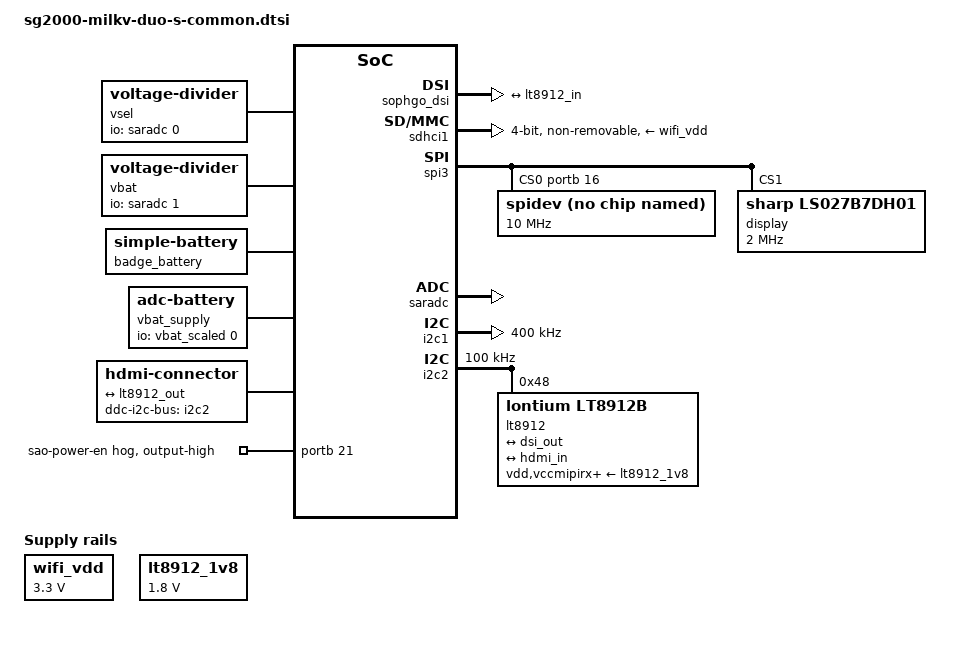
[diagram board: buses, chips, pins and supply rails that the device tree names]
// SPDX-License-Identifier: (GPL-2.0 OR MIT)
/*
 * Shared board nodes common to both the ARM and RISC-V Milk-V Duo S cores.
 *
 * These nodes are SoC-pad-level and identical between the two cores, so they
 * live here instead of being duplicated in each DTS. Each core still defines
 * its own sdhci1_cfg pinctrl (PIN_SD1_* on ARM, DUOS_SD1_* on RISC-V) and its
 * own gpio-line-names.
 *
 * This dtsi is included after the base dtsi (module-01 on ARM, sg2002 on RISC-V)
 * and <dt-bindings/gpio/gpio.h>, so CLK_SD1, CLK_AXI4_SD1, GPIO_ACTIVE_HIGH and
 * the &clk / &porta / &sdhci1 / &sdhci1_cfg labels are already in scope. Label
 * references resolve globally at dtc time, so include order does not matter for
 * the &sdhci1_cfg reference.
 */

/*
 * Onboard WiFi: AICSemi AIC8800 on the SDIO bus mmc@4320000 (label sdhci1).
 * mmc@4310000 = SD card (sdhci0), mmc@4300000 = eMMC. GPIO PORTA pin 15
 * (WL_REG_ON, active-high) powers the AIC8800, driven via the cvi host's
 * poweron-gpios. The out-of-tree aic8800 driver and firmware are separate.
 */
/ {
	/* WL_REG_ON must have one consumer. The cvitek host drives it via &sdhci1
	 * poweron-gpios. An mmc-pwrseq node on the same porta15 line would add a
	 * second consumer, which forces the kernel's can_sleep gpio-shared-proxy.
	 * aicbsp_set_subsys then calls the non-sleeping gpiod_set_value() on that
	 * proxy (gpiolib.c warns to use gpiod_set_value_cansleep) and mis-sequences
	 * the WL_REG_ON power enable. With one consumer, porta15 is a direct,
	 * non-sleeping gpiochip0 line and the power toggle is clean. */

	/* The AIC8800 core VDD reports a 3.3V OCR window in CMD5, so the mmc core
	 * must see vmmc as 3.3V or it rejects the card ("no support for card's
	 * volts", -EINVAL) before it powers. The bus I/O is taken to 1.8V in
	 * hardware by the cv18xx-vsw driver patch (SD_PWRSW_CTRL) under NO_1_8_V,
	 * matching the vendor, so there is no 1.8V vqmmc regulator. */
	wifi_vdd: regulator-wifi-vdd {
		compatible = "regulator-fixed";
		regulator-name = "aic8800-vdd";
		regulator-min-microvolt = <3300000>;
		regulator-max-microvolt = <3300000>;
		regulator-always-on;
		regulator-boot-on;
	};
};

&sdhci1 {
	/* This config routes the AIC8800 in-band SDIO interrupt (CARD_INT on DAT1)
	 * through the stock sdhci sdio_claim_irq path. With cap-sdio-irq and the
	 * driver claiming the IRQ, stock sdhci enables SDHCI_INT_CARD_INT and pins
	 * the controller runtime-resumed (pm_runtime_get_noresume in
	 * sdhci_enable_sdio_irq). The card clock then keeps toggling during the idle
	 * post-START_APP wait, so the fmac confirmation interrupt is sensed. */
	status = "okay";
	/* Marks this as the SD1/SDIO (wifi) instance for the cv18xx-vsw kernel
	 * patch. Its cv18xx_init sets FLAG_CV18XX_SD1 (reg_0x200[16] instance
	 * select and [8]/[9] reset-out in cv18xx_sdhci_reset) and FLAG_IO_FIXED_1V8
	 * (forces true 1.8V signalling). Without this the patched glue treats the
	 * node like an SD card and the SDIO-specific bring-up does not run. */
	sophgo,sdio-inst1;
	/* Binds the out-of-tree cvitek cv181x SDHCI host driver
	 * (pkgs/firmware/sdhci-cv181x) instead of mainline sdhci-of-dwcmshc, to
	 * reproduce the vendor SDIO bring-up the AIC8800 fmac needs. Replaces the
	 * inherited "sophgo,cv1800b-dwcmshc" compatible. clk_wifisd = SD1
	 * functional clock (driver sets it to max-frequency); axi = register-bus
	 * clock. */
	compatible = "cvitek,cv181x-sdio";
	/* List the functional clock (CLK_SD1, 375MHz) first, so sdhci_pltfm_init
	 * picks it (clocks[0], devm_clk_get(NULL)) as host->max_clk. With axi first
	 * the divider runs off 300MHz for a 37.5MHz card clock instead of the
	 * required 46.875MHz (375/8). The driver also looks both clocks up by name,
	 * so the order is safe. */
	clocks = <&clk CLK_SD1>, <&clk CLK_AXI4_SD1>;
	clock-names = "clk_wifisd", "axi";
	bus-width = <4>;
	non-removable;
	no-mmc;
	no-sd;
	/* The CONFIG_OOB=n driver needs the in-band SDIO interrupt. mmc_of_parse
	 * maps this to MMC_CAP_SDIO_IRQ, so sdhci wires up SDHCI_INT_CARD_INT. */
	cap-sdio-irq;
	/* Keep the SDIO function powered and stop the controller idling away the
	 * clock across the post-jump wait. */
	keep-power-in-suspend;
	/* Match the vendor 375MHz SDIO source clock (CLK_SD1 = clk_wifisd). The
	 * bootrom-to-fmac handoff and the cv18xx PHY tap timing are calibrated for
	 * a 375MHz functional clock. The vendor host reads this property
	 * (src-frequency) for the source rate, decoupled from max-frequency (the
	 * bus-clock ceiling). */
	src-frequency = <375000000>;
	/* The cv181x host's get_max_clock op returns f_max (this max-frequency) as
	 * sdhci's divider base (SDHCI_QUIRK_CAP_CLOCK_BASE_BROKEN), so the
	 * high-speed card clock is f_max/4. 187.5MHz gives 46.875MHz, which the
	 * fixed cv18xx PHY tap sample point requires. A lower rate shifts the sample
	 * point and corrupts the post-jump firmware message DMA. */
	max-frequency = <187500000>;
	/* The card core VDD OCR window is 3.3V (see wifi_vdd). The 1.8V bus I/O is
	 * done in hardware at the SoC pad rail by the cv18xx-vsw patch under
	 * NO_1_8_V, so there is no vqmmc regulator. A 1.8V vqmmc would pin ocr_avail
	 * to 1.8V and the core would reject the card's 3.3V OCR. */
	vmmc-supply = <&wifi_vdd>;
	pinctrl-0 = <&sdhci1_cfg>;
	pinctrl-names = "default";
	/* Do not auto-power the card via mmc-pwrseq, which would raise WL_REG_ON at
	 * boot and enumerate the card before the aic driver can drive it. Instead
	 * hand WL_REG_ON to the cv181x host driver as poweron-gpios. The driver
	 * drives it low at probe (card absent), then the aic CONFIG_PLATFORM_CVITEK
	 * path raises it and calls cvi_sdio_rescan() to enumerate the fmac in
	 * bootrom mode (CMD5 works). Its message task then starts and grants TX
	 * credits. */
	poweron-gpios = <&porta 15 GPIO_ACTIVE_HIGH>;
};

/*
 * pstore/ramoops: a small DRAM region the kernel dumps oops/panic logs (and the
 * console ring) into, so a crash survives a reboot and shows up in /sys/fs/pstore
 * (#50). DRAM contents are NOT cleared by a warm reset on this SoC, so the region
 * still holds the dying log when the kernel comes back up.
 *
 * Address 0x90000000 matches Armbian's validated placement (armbian/build#10326,
 * patches 0056/0057) rather than a guessed gap. Both ends of DRAM are already
 * spoken for: u-boot loads the kernel/dtb/initrd LOW (0x80200000..0x84000000) and
 * relocates the dtb/initrd HIGH, just under the top of RAM; the C906L coprocessor
 * region sits at 0x9fe00000 when that overlay is enabled. 0x90000000 is the clear
 * middle -- nothing else claims it, and it is far enough below 0x9fe00000 that the
 * C906L overlay cannot collide. (Our earlier 0x88000000 was never proven: the
 * console region was never captured because PSTORE_CONSOLE was off -- now enabled
 * in soc-features.nix -- so that address choice was untested rather than wrong.)
 *
 * no-map is deliberately ABSENT, as on most in-tree ramoops nodes: the region only
 * has to be kept out of the page allocator. Left mapped, pfn_valid() holds and
 * persistent_ram_buffer_map() takes the vmap path meant for ordinary DRAM instead
 * of falling back to ioremap. Both cores use 1/1 address/size cells, so this
 * shared node's reg is portable. PSTORE=y is in the kernel; PSTORE_RAM (=m) is
 * loaded from the initrd (base.nix); PSTORE_CONSOLE/PSTORE_PMSG are enabled in
 * soc-features.nix; panic=10 (soc-features.nix) reboots via the normal path.
 */
/ {
	reserved-memory {
		#address-cells = <1>;
		#size-cells = <1>;
		ranges;

		ramoops@90000000 {
			compatible = "ramoops";
			reg = <0x90000000 0x100000>;      /* 1 MB */
			record-size = <0x00008000>;       /* 32 KB per oops/panic dump */
			console-size = <0x00020000>;      /* 128 KB kernel-console ring */
		};
	};
};

/*
 * SPI3 (DesignWare APB SSI) on the 40-pin header drives BOTH the WS2812 LED
 * ring (/dev/spidev3.0) and the Sharp Memory Display (display@1) over ONE bus
 * with the CS-AND-gate wiring: U10 gates LED_DIN = CS AND SDO, and the front
 * connector routes the SAME CS net through an inverter to the display's SCS.
 * The controller node itself (compatible/reg/#cells/clocks/interrupts/resets)
 * comes from the base cv180x.dtsi (status="disabled"); this enables it and adds
 * the two board devices. Identical on both cores, so it lives here.
 *
 * Per-core bits stay in each DTS: `dmas` (the cv1800b dmamux request's CPU
 * cell, 0 = CA53 on ARM / 1 = C906 on RISC-V) and, on ARM only, the GIC-form
 * `interrupts` override (the base's 2-cell PLIC form is wrong under the arm64
 * GIC); plus the `spi3_cfg` pinctrl, whose pin-macro names differ (arm PIN_*
 * vs riscv DUOS_*), referenced here by label. Requires RESET_SIMPLE in the
 * kernel (shared, base.nix) so &rst binds and RST_SPI3 is deasserted -- without
 * it the optional reset never releases and the bus comes up half-reset.
 */
&spi3 {
	num-cs = <2>;
	/* GPIO chip select, active-high. U10 passes LED data only while CS is
	 * high; the native DW CS cannot do active-high (dw_spi_set_cs just sets
	 * SER regardless of level), so use a gpiod CS -- dw_spi sets
	 * SPI_CONTROLLER_GPIO_SS so SER is still raised and data flows. VIVO_D5 is
	 * XGPIOB_16 at mux 3 (see each core's spi3_cfg). */
	cs-gpios = <&portb 16 GPIO_ACTIVE_HIGH>;
	pinctrl-0 = <&spi3_cfg>;
	pinctrl-names = "default";
	status = "okay";

	/* WS2812 ring at /dev/spidev3.0. spidev binds known compatibles only;
	 * rohm,dh2228fv is in spidev_dt_ids. spi-cs-high is required for the U10
	 * AND gate: gpiolib-of forces every SPI cs-gpio active-low unless the child
	 * carries spi-cs-high (SPI children default to active-low chip selects). */
	spidev@0 {
		compatible = "rohm,dh2228fv";
		reg = <0>;
		spi-max-frequency = <10000000>;
		spi-cs-high;
	};

	/* Sharp Memory Display (LS027B7DH01, 400x240) as a DRM fbcon (#42). The
	 * SAME CS net reaches SCS through an inverter, so this child has NO cs-gpios
	 * (the controller's cs-gpios array has one entry; index 1 is NULL) and the
	 * SPI core toggles nothing here -- the line sits where the LED cs-gpio
	 * (spidev3.0) left it: LOW = display selected when the painter is idle.
	 * EXTMODE strapped low => software VCOM (kthread toggles the in-band VCOM
	 * bit, no EXTCOMIN pin); DISP tied high => no enable-gpios. */
	display@1 {
		compatible = "sharp,ls027b7dh01";
		reg = <1>;
		spi-max-frequency = <2000000>;
		sharp,vcom-mode = "software";
	};
};

/*
 * SAO connector power hog. Lives in its own &portb block; dtc merges it with
 * each core's &portb (which carries the core-specific gpio-line-names).
 */
&portb {
	/* Enable the SAO connector power (U13 EN + U12 OE) at boot. */
	sao-power-en-hog {
		gpio-hog;
		gpios = <21 GPIO_ACTIVE_HIGH>;
		output-high;
		line-name = "sao-power-en";
	};
};

/*
 * SARADC for the battery + rail voltage meters. The cv1800b-adc IIO driver
 * exposes in_voltage0/1/2 (scale 3300/4096 = ~0.8057 mV per LSB). Channel map:
 *   in_voltage0 = VSEL  (system rail, = VBUS through the TPS2116 mux; R16/R19),
 *                       2.2M/1M divider -> read via the vsel-divider rescale
 *   in_voltage1 = VBAT  (battery; R15 2.2M / R18 1M), divider -> vbat-divider
 *   in_voltage2 = J6    (user ADC test point, NO divider) -> read the base
 *                       channel directly: in_voltage2_raw * in_voltage_scale
 * VSEL/VBAT need the divider because they exceed the 3.3V input; J6 does not.
 * The base node (cv180x.dtsi) is status="disabled" with channel@0..2 declared.
 */
&saradc {
	status = "okay";
	/* Expose the ADC channels to in-kernel consumers (the iio-rescale below). */
	#io-channel-cells = <1>;
};

/*
 * VBAT as a standard Linux power_supply, to compare against nix-badge's
 * per-badge VBUS auto-cal and decide fixed-factor-vs-cal. iio-rescale
 * (voltage-divider) applies a FIXED factor to the VBAT SARADC channel;
 * generic-adc-battery (adc-battery) then publishes it at
 * /sys/class/power_supply/. The physical divider is 2.2M/1M (x3.2), but the
 * ~138k leaky SARADC input loads it to an effective ~19.24, so output/full-ohms
 * encode ~19.24 (a per-SoC approximation, NOT the real resistors). Compare
 * voltage_now here to `nix-badge power` (which auto-cals per badge off the ~5V
 * VBUS) to see how far a single fixed factor drifts across badges/temperature.
 * Both cores get this via the shared dtsi. Drivers autoload (CONFIG_IIO_RESCALE,
 * CONFIG_GENERIC_ADC_BATTERY are =m).
 */
/ {
	/* VSEL and VBAT exceed the ADC's 3.3V input range, so each goes through a
	 * 2.2M/1M divider; an iio-rescale presents the true rail voltage in sysfs
	 * (raw*scale = real mV, effective ~19.24 after the leaky ADC input) so
	 * userspace needs no hardcoded factor. `label` surfaces at
	 * /sys/bus/iio/devices/iio:deviceN/label. VBAT additionally feeds an
	 * adc-battery below for the power_supply %/status interface; VSEL is the
	 * system rail (VBUS through the TPS2116 mux). J6 is a direct user ADC input
	 * with NO divider -- read it straight from SARADC channel 2 (in_voltage2_raw
	 * * in_voltage_scale), no rescale. */
	vsel_scaled: vsel-divider {
		compatible = "voltage-divider";
		io-channels = <&saradc 0>; /* VSEL = SARADC channel 0 */
		#io-channel-cells = <1>;
		output-ohms = <1000>;
		full-ohms = <19240>;
		label = "vsel";
	};

	vbat_scaled: vbat-divider {
		compatible = "voltage-divider";
		io-channels = <&saradc 1>; /* VBAT = SARADC channel 1 */
		#io-channel-cells = <1>;
		output-ohms = <1000>;
		full-ohms = <19240>; /* 19240/1000 = 19.24 effective factor */
		label = "vbat";
	};

	badge_battery: badge-battery {
		compatible = "simple-battery";
		voltage-min-design-microvolt = <3000000>;
		voltage-max-design-microvolt = <4200000>;
	};

	vbat_supply: vbat-adc-battery {
		compatible = "adc-battery";
		io-channels = <&vbat_scaled 0>;
		io-channel-names = "voltage";
		monitored-battery = <&badge_battery>;
	};
};

/*
 * SAO connector I2C = IIC1 (i2c@4010000) for the 128x32 SSD1306 OLED at 0x3c.
 * The bling engine drives the panel from userspace over /dev/i2c-1 (i2c-dev),
 * so we enable the controller but bind no in-kernel client (no ssd1306fb, which
 * would claim 0x3c). The SAO SDA/SCL pads are PORTB 17/18 = PIN_VIVO_D4 /
 * PIN_VIVO_D3; their IIC1 pinmux (i2c1_cfg) is added per-core once the mux value
 * is confirmed (the arm vs riscv pin-macro names differ, like sdhci1_cfg). Until
 * then the mux is set at runtime via `nix-badge mmio` while sweeping for 0x3c.
 */
/* Pin i2c@4010000 to /dev/i2c-1 deterministically (without an alias it takes the
 * first free dynamic bus number -- i2c-0 here, since it is the only enabled i2c).
 * The bling engine / `nix-badge oled` open /dev/i2c-1. */
/ {
	aliases {
		i2c1 = &i2c1;
		i2c2 = &i2c2; /* the LT8912B control bus: 2-0048 on both cores */
	};
};

&i2c1 {
	status = "okay";
	/* 400 kHz standard fast-mode. We tried 1 MHz fast-mode-plus for 60 fps Bad Apple
	 * headroom, but (a) it gave no fps gain -- the delta player is fix-eval-bound at
	 * ~46 fps, NOT I2C-bandwidth-bound, so a faster bus doesn't lift the ceiling --
	 * and (b) it was marginal for the SAO wiring: single-byte i2cdetect still ACKs at
	 * 1 MHz but the multi-byte SSD1306 init sequence intermittently NAKs, so some
	 * boots came up with a blank panel (the #30 no-OLED guard skipped it). 400 kHz
	 * inits reliably every boot; the path to true 60 fps is cutting per-frame eval
	 * cost, not the bus. */
	clock-frequency = <400000>;
	/* i2c1_cfg (VIVO_D4/D3 -> IIC1, mux 5) is defined per-core: the arm and
	 * riscv pin-macro names differ (PIN_VIVO_* vs DUOS_VIVO_*), like sdhci1_cfg.
	 * The label resolves globally at dtc time. */
	pinctrl-names = "default";
	pinctrl-0 = <&i2c1_cfg>;
};

/*
 * RTC/PWR-domain GPIO controller (RTCSYS_GPIO, SG2000 TRM: 0x05021000-0x05021FFF).
 * Mainline names only porta..portd (gpiochip0..3 at 0x0302_0000..3000) and leaves
 * this always-on RTC-domain bank unexposed, so its lines -- PWR_GPIO0..2,
 * PWR_WAKEUP0/1, PWR_BUTTON1, PWR_SEQ*, PWR_VBAT_DET -- are unreachable from
 * Linux. It IS a standard DesignWare APB GPIO (confirmed by the register layout:
 * DR@0x00=0, DDR@0x04=0 all-inputs, EXT_PORTA@0x50 reads live inputs), and the
 * block is live out of reset (RTC domain), so a plain dw-apb-gpio node binds and
 * gives a 5th gpiochip. This is what makes the badge's USER button reachable: it
 * is wired (via the reused LCD_RST net) to PWR_GPIO1/2 (M12/N13), which is NOT on
 * porta..portd. No clocks/resets: the debounce clock is optional and the RTC
 * block is never reset. The pad mux still selects PWR_GPIO by default; a pinctrl
 * state to force GPIO-input + input-enable is added per-core if a line needs it.
 */
/* The base dtsi's `soc` node is unlabeled, so merge by path (dtc unions same-path
 * nodes) to add the RTC gpio under the existing simple-bus (which has ranges;). */
/ {
	soc {
		rtcsys_gpio: gpio@5021000 {
			compatible = "snps,dw-apb-gpio";
			reg = <0x05021000 0x1000>;
			#address-cells = <1>;
			#size-cells = <0>;

			porte: gpio-controller@0 {
				compatible = "snps,dw-apb-gpio-port";
				gpio-controller;
				#gpio-cells = <2>;
				ngpios = <32>;
				reg = <0>;
				/* Line 2 is the S3 USER button (PWR_GPIO domain), found by
				 * probing which RTC line flips on a press: active-low, rests
				 * high, pressed pulls low. This controller has no edge IRQ, so
				 * nix-badge LEVEL-POLLS it (see sysfs.Button.openPolled).
				 * Naming through line 2 is enough; the rest stay unnamed. */
				gpio-line-names = "", "", "user-btn";
			};
		};
	};
};

/*
 * HDMI output: the SG2000 display block drives the board's LT8912B (U16)
 * DSI-to-HDMI bridge over two MIPI DSI data lanes. Resource provenance, vendor
 * osdrv aa542c41: interdrv/vo/chip/cv181x/vo_mipi_tx.c:_init_resources
 * (clk_disp, clk_dsi), interdrv/vpss/chip/cv181x/vpss_core.c:_init_resources
 * (sc_top, D-PHY) and interdrv/base/base.c:base_probe (vip_sys). scaler_reg.h
 * places sc_top, DISP and the DSI MAC in disjoint windows. The clock IDs are
 * the mainline cv1800 binding names for those vendor clocks.
 */
/ {
	soc {
		vip_sys: syscon@a0c8000 {
			compatible = "sophgo,sg2000-vip-sys", "syscon";
			reg = <0x0a0c8000 0x1000>;
			/* clk-cv1800.c:clk_cfg_reg_vip gates the register interface
			 * separately from the AXI VIP children. syscon attaches the clock
			 * to its regmap, which enables it around every access; the first
			 * VIP read stalls without it. */
			clocks = <&clk CLK_CFG_REG_VIP>;
		};

		sophgo_dsi: dsi@a080000 {
			compatible = "sophgo,sg2000-dsi";
			reg = <0x0a080000 0x1000>,
			      <0x0a088000 0x1000>,
			      <0x0a08a000 0x1000>,
			      <0x0a0d1000 0x1000>;
			reg-names = "sc_top", "disp", "dsi_mac", "dphy";
			assigned-clocks = <&clk CLK_DSI_ESC>;
			assigned-clock-parents = <&clk CLK_AXI6>;
			assigned-clock-rates = <20000000>;
			sophgo,vip-sys = <&vip_sys>;
			/* axi_vip is the VIP AXI master clock the DISP DRAM reader needs.
			 * The vendor display node never takes it (vendor display DMA
			 * relies on the vi node's clk_axi), and nothing else holds it on
			 * mainline, so clk_disable_unused would gate it. bt_vip is an AXI
			 * gate beside the display gates that the vendor kernel leaves
			 * running (its mipi_tx node lists it as clk_bt). */
			clocks = <&clk CLK_SC_TOP_VIP>,
				 <&clk CLK_DISP_VIP>, <&clk CLK_DSI_MAC_VIP>,
				 <&clk CLK_DSI_ESC>, <&clk CLK_DISPPLL>,
				 <&clk CLK_DISP_SRC_VIP>, <&clk CLK_DSI_SYNTH_SRC>,
				 <&clk CLK_CFG_REG_VIP>,
				 <&clk CLK_AXI_VIP>, <&clk CLK_BT_VIP>;
			clock-names = "sc_top", "clk_disp", "clk_dsi", "dsi_esc",
				      "disppll", "disp_src", "dsi_src",
				      "cfg_reg", "axi_vip", "bt_vip";

			port {
				dsi_out: endpoint {
					data-lanes = <0 1>;
					remote-endpoint = <&lt8912_in>;
				};
			};
		};
	};

	/* NixVegas/pcb d97cfc1d2f50a0447eaf80c7d025e58900b8f5e6, kicad/hdmi.kicad_sch
	 * and nixos.kicad_pcb: +1V8 feeds the LT8912B's VDD (pins 18/33/57) through
	 * L4, VCCA (5/26/41/50/52) through L3 and VCCA_HDMIPLL (34) through L2, with
	 * no software enable. RESET_N (pin 64) is an R77/C47 RC to the rail; no CPU
	 * GPIO resets the bridge. */
	lt8912_1v8: regulator-lt8912-1v8 {
		compatible = "regulator-fixed";
		regulator-name = "lt8912-board-1v8";
		regulator-min-microvolt = <1800000>;
		regulator-max-microvolt = <1800000>;
		regulator-always-on;
	};

	hdmi-connector {
		compatible = "hdmi-connector";
		type = "a";
		/* IIC2 (I2C_SENSOR1, LT8912B pins 61/62) also reaches HDMI pins 15/16
		 * through FET1/FET2. HPD goes to the LT8912B (pin 14, through Q12),
		 * not to a CPU GPIO. */
		ddc-i2c-bus = <&i2c2>;

		port {
			hdmi_in: endpoint {
				remote-endpoint = <&lt8912_out>;
			};
		};
	};
};

/* IIC2, the LT8912B control bus. The board's 10 k pull-ups need 100 kHz;
 * cv180x.dtsi supplies the DesignWare controller, its clocks and its reset.
 * iic2_cfg is defined per core, like i2c1_cfg. */
&i2c2 {
	status = "okay";
	clock-frequency = <100000>;
	pinctrl-names = "default";
	pinctrl-0 = <&iic2_cfg>;

	lt8912: bridge@48 {
		compatible = "lontium,lt8912b";
		reg = <0x48>;
		vdd-supply = <&lt8912_1v8>;
		vccmipirx-supply = <&lt8912_1v8>;
		vccsysclk-supply = <&lt8912_1v8>;
		vcclvdstx-supply = <&lt8912_1v8>;
		vcchdmitx-supply = <&lt8912_1v8>;
		vcclvdspll-supply = <&lt8912_1v8>;
		vcchdmipll-supply = <&lt8912_1v8>;

		ports {
			#address-cells = <1>;
			#size-cells = <0>;

			port@0 {
				reg = <0>;
				lt8912_in: endpoint {
					data-lanes = <0 1>;
					remote-endpoint = <&dsi_out>;
				};
			};

			port@1 {
				reg = <1>;
				lt8912_out: endpoint {
					remote-endpoint = <&hdmi_in>;
				};
			};
		};
	};
};
